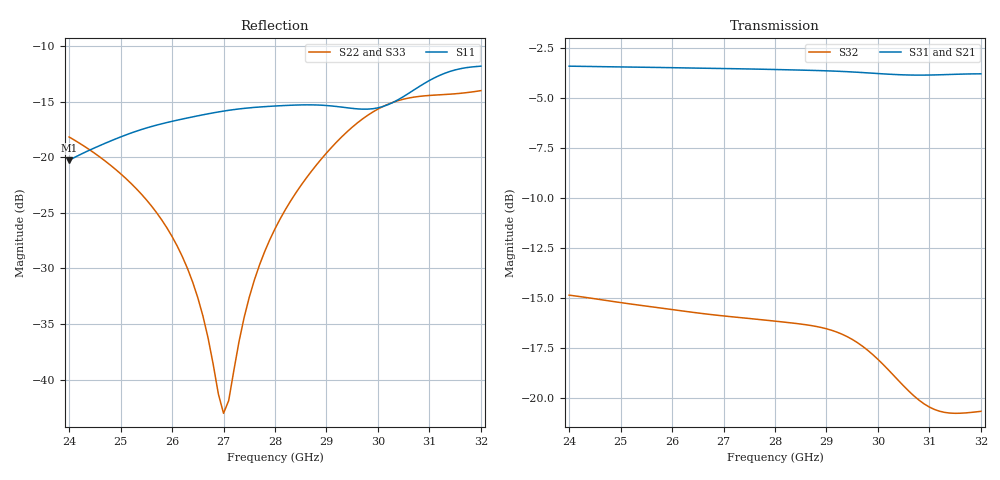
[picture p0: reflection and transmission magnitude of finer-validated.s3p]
# GHz S RI R 50
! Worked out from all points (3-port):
!   81 points, 24 GHz to 32 GHz, reference 50 ohm
!   strongest paths, dB at 24 GHz, 26 GHz, 28 GHz, 30 GHz, 32 GHz:
!     S31: -3.4, -3.5, -3.6, -3.8, -3.8
!     S21: -3.4, -3.5, -3.6, -3.8, -3.8
!     S32: -14.9, -15.6, -16.2, -18.1, -20.7
!   lowest |S11| = -20.3 dB at 24 GHz (marker M1), VSWR 1.21, Z = 47 + j8.95 ohm
!   |S11| at or under -10 dB: start of sweep to end of sweep
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24  -0.0221 0.0943  0.6471 0.2004  0.6471 0.2004
    0.6438 0.1998  0.1232 -0.00384  -0.1493 0.1013
    0.6438 0.1998  -0.1493 0.1013  0.1232 -0.00384
25.2  0.00922 0.128  0.6738 -0.0131  0.6738 -0.0131
      0.6705 -0.0125  0.0714 -0.0271  -0.0648 0.1587
      0.6705 -0.0125  -0.0648 0.1587  0.0714 -0.0271
26  0.0383 0.1398  0.6532 -0.155  0.6532 -0.155
    0.6503 -0.1538  0.0375 -0.0231  0.00367 0.166
    0.6503 -0.1538  0.00367 0.166  0.0375 -0.0231
26.5  0.0568 0.1425  0.6252 -0.2402  0.6252 -0.2402
      0.6225 -0.2385  0.0197 -0.0126  0.0462 0.1561
      0.6225 -0.2385  0.0462 0.1561  0.0197 -0.0126
27  0.0759 0.1421  0.5859 -0.3208  0.5859 -0.3208
    0.5836 -0.3187  0.00637 0.00306  0.0854 0.1354
    0.5836 -0.3187  0.0854 0.1354  0.00637 0.00306
27.5  0.0944 0.1373  0.5361 -0.3955  0.5361 -0.3955
      0.5342 -0.3932  -0.00106 0.0235  0.1184 0.1041
      0.5342 -0.3932  0.1184 0.1041  -0.00106 0.0235
28  0.11 0.1293  0.4765 -0.4628  0.4765 -0.4628
    0.4749 -0.4601  -0.000394 0.0477  0.1418 0.0633
    0.4749 -0.4601  0.1418 0.0633  -0.000394 0.0477
28.8  0.1294 0.1128  0.3631 -0.5513  0.3631 -0.5513
      0.3625 -0.5486  0.024 0.0888  0.1499 -0.0152
      0.3625 -0.5486  0.1499 -0.0152  0.024 0.0888
29.8  0.1317 0.0984  0.1982 -0.62  0.1982 -0.62
      0.1985 -0.6174  0.1094 0.1086  0.0894 -0.0962
      0.1985 -0.6174  0.0894 -0.0962  0.1094 0.1086
32  0.2474 0.0672  -0.1738 -0.6234  -0.1738 -0.6234
    -0.1731 -0.6214  0.1867 -0.0691  -0.0279 -0.0881
    -0.1731 -0.6214  -0.0279 -0.0881  0.1867 -0.0691
